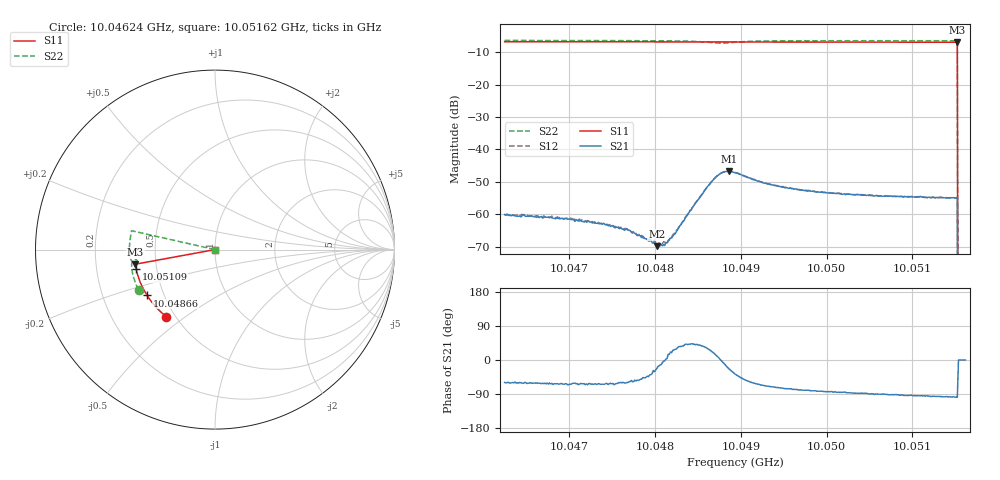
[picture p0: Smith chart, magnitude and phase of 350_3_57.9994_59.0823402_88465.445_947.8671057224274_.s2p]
#  HZ  S  RI  R  50.00
! Rohde & Schwarz Vector Network Analyzer
! Rohde-Schwarz,ZNB20-2Port,1311601062101988,3.16
! Created: UTC 3/21/2024, 1:05:59 AM
! freq[Hz]  re:S11  im:S11  re:S21  im:S21  re:S12  im:S12  re:S22  im:S22
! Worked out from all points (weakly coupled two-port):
!   401 points, 10.04624 GHz to 10.05162 GHz, reference 50 ohm
!   highest |S21| = -46.76 dB at 10.04886 GHz (marker M1); lowest = -69.8 dB at 10.04802 GHz (marker M2)
!   lowest |S11| = -6.9 dB at 10.05152 GHz (marker M3), VSWR 2.65, Z = 19 - j3.89 ohm
!   |S11| at or under -10 dB: 10.05153 GHz to end of sweep
!   |S22| runs from - to -6.4 dB; largest |S21 - S12| = 0.00033
!   S11 on the Smith chart (normalised r, x): 10.04624 GHz: 0.45, -0.43; 10.04866 GHz: 0.40, -0.26; 10.05109 GHz: 0.38, -0.10; 10.05162 GHz: 1.00, +0.00
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1.0046244e10  -0.2712 -0.3732  0.000504 -0.000851  0.000573 -0.000818  -0.4262 -0.2236
1.0047144e10  -0.3159 -0.3337  0.000363 -0.000686  0.00042 -0.000707  -0.4494 -0.1676
1.0047682e10  -0.3399 -0.3074  0.00029 -0.000491  0.000345 -0.00046  -0.4595 -0.1313
1.0047924e10  -0.3499 -0.2951  0.000288 -0.000277  0.000312 -0.000223  -0.463 -0.114
1.0048018e10  -0.3537 -0.2902  0.000297 -0.000125  0.000345 -0.000138  -0.4638 -0.1069
1.0048045e10  -0.3548 -0.2888  0.000332 -9.37e-05  0.000354 -8.33e-05  -0.464 -0.1048
1.0048112e10  -0.3575 -0.2854  0.000329 -9.54e-06  0.000372 3.09e-05  -0.4645 -0.0995
1.0048166e10  -0.3597 -0.2825  0.000397 0.000107  0.000382 0.000115  -0.4647 -0.0951
1.0048219e10  -0.3617 -0.2797  0.000433 0.000219  0.000433 0.000253  -0.4647 -0.0908
1.0048461e10  -0.3708 -0.2665  0.00108 0.000936  0.00101 0.00101  -0.4601 -0.0689
1.0048663e10  -0.378 -0.2554  0.00301 0.00121  0.00295 0.00138  -0.4429 -0.0561
1.004877e10  -0.3816 -0.2494  0.0043 -9.86e-05  0.00435 0.000195  -0.4327 -0.0634
1.0048864e10  -0.3847 -0.2444  0.0042 -0.00186  0.00435 -0.00158  -0.4367 -0.074
1.0048932e10  -0.3869 -0.2407  0.00351 -0.00264  0.00368 -0.00245  -0.4449 -0.0766
1.0049388e10  -0.4016 -0.2145  0.000887 -0.00265  0.00101 -0.00261  -0.4722 -0.0431
1.0049832e10  -0.4138 -0.1879  0.000343 -0.00225  0.000481 -0.00224  -0.4764 -0.00919
1.0050732e10  -0.4335 -0.1322  -6.29e-05 -0.00191  4.78e-05 -0.0019  -0.4737 0.053
1.0051095e10  -0.4392 -0.1092  -0.000141 -0.00188  -5.82e-05 -0.00185  -0.4703 0.077
1.0051498e10  -0.4444 -0.0832  -0.000254 -0.00178  -0.000153 -0.00176  -0.465 0.1033
1.0051525e10  -0.4445 -0.0815  -0.000265 -0.00176  -0.00015 -0.00179  -0.4646 0.1051
1.0051565e10  0 0  0 0  0 0  0 0
1.0051619e10  0 0  0 0  0 0  0 0
